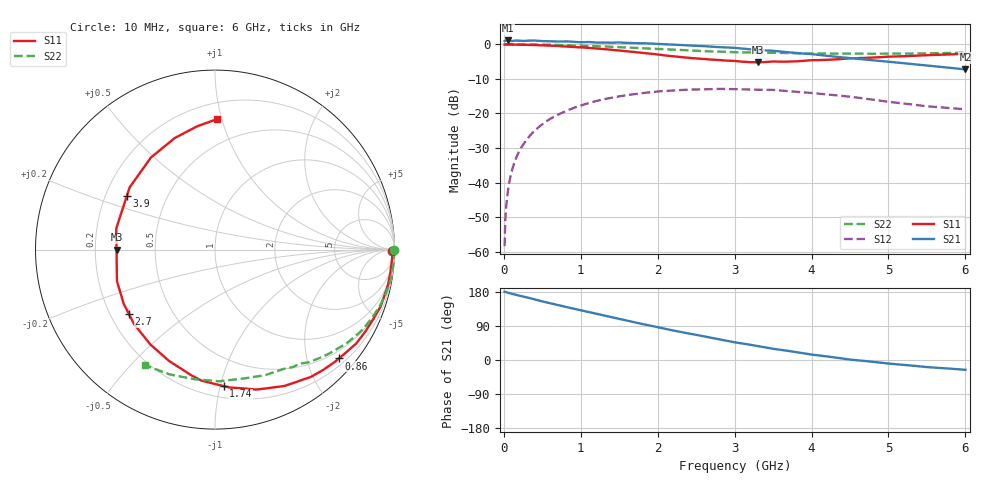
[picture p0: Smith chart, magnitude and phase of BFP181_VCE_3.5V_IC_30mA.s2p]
! Infineon Technologies  Discrete & RF Semiconductors
! BFP181
! VCE = 3.5 V,  IC =  30 mA
! Common Emitter S-Parameters:  Jan 2016
# GHz  S  MA  R  50
!  f  S11  S21  S12  S22
! GHz  MAG  ANG  MAG  ANG  MAG  ANG  MAG  ANG
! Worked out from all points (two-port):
!   210 points, 10 MHz to 6 GHz, reference 50 ohm
!   highest |S21| = 1.09 dB at 50 MHz (marker M1); lowest = -7.3 dB at 6 GHz (marker M2)
!   |S21| within 3 dB of the highest: start of sweep to 3.506 GHz
!   lowest |S11| = -5.2 dB at 3.3 GHz (marker M3), VSWR 3.43, Z = 14.6 - j2.8e-15 ohm
!   |S11| at or under -10 dB: nowhere
!   |S22| runs from -2.7 to 0.0 dB; largest |S21 - S12| = 1.1
!   S11 on the Smith chart (normalised r, x): 10 MHz: open; 860 MHz: 0.34, -2.62; 1.74 GHz: 0.28, -1.02; 2.7 GHz: 0.28, -0.31; 3.9 GHz: 0.29, +0.26; 6 GHz: 0.31, +0.97
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0.01  0.9873 -0.6  1.113 179.9  0.0012 92.8  0.9986 -0.2
0.015  0.9882 -0.9  1.121 179.8  0.0021 90.0  0.9985 -0.3
0.02  0.9892 -1.1  1.129 179.8  0.003 88.9  0.9984 -0.5
0.03  0.9891 -1.4  1.131 179.1  0.0044 89.4  0.9984 -0.7
0.05  0.9889 -2.1  1.134 177.8  0.0071 89.8  0.9985 -1.2
0.09  0.9866 -4.3  1.115 175.6  0.0129 87.2  0.9977 -2.2
0.135  0.9858 -6.6  1.123 173.2  0.0191 85.2  0.997 -3.2
0.2  0.9837 -9.5  1.127 169.8  0.0285 82.7  0.9965 -4.8
0.3  0.9792 -14.3  1.126 165.6  0.0421 79.3  0.9941 -7.2
0.54  0.9586 -25.8  1.109 152.8  0.075 70.5  0.9857 -12.9
0.86  0.919 -41.3  1.094 137.5  0.1144 59.3  0.9651 -20.2
1.02  0.8981 -49.1  1.069 130.2  0.1322 53.9  0.9531 -23.7
1.3  0.8521 -63.1  1.057 117.6  0.16 44.6  0.9285 -29.8
1.74  0.7621 -86.4  1.036 97.8  0.1926 31.3  0.8817 -38.4
2.02  0.707 -101.8  1.007 85.6  0.2083 23.4  0.8549 -43.3
2.7  0.599 -143.2  0.922 58.6  0.2241 5.4  0.7882 -54.9
3.1  0.5594 -167.9  0.865 43.6  0.2225 -4.3  0.7633 -61.6
3.3  0.5487 -180.0  0.828 36.9  0.2199 -8.6  0.7571 -64.9
3.9  0.5754 148.5  0.732 17.6  0.2011 -20.1  0.7374 -75.8
4.1  0.5903 139.9  0.699 11.9  0.1925 -23.4  0.7332 -79.8
5.1  0.6653 107.4  0.545 -11.1  0.1428 -32.0  0.7308 -101.2
6  0.7276 89.0  0.432 -25.9  0.1147 -25.3  0.7533 -121.2
